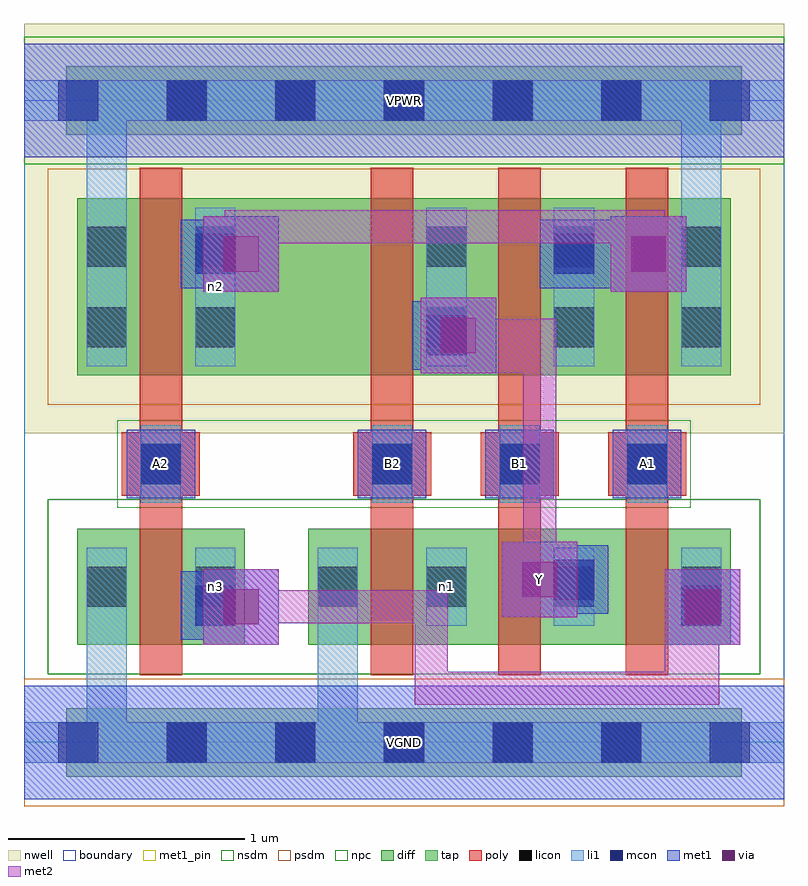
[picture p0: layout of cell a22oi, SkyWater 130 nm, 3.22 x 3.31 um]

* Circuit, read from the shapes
.subckt a22oi A1 A2 B1 B2 VGND VPWR Y n1 n2 n3
XM1 n3 A2 VGND VGND sky130_fd_pr__nfet_01v8 w=0.49 l=0.18
XM2 n1 B2 VGND VGND sky130_fd_pr__nfet_01v8 w=0.49 l=0.18
XM3 Y B1 n1 VGND sky130_fd_pr__nfet_01v8 w=0.49 l=0.18
XM4 n3 A1 Y VGND sky130_fd_pr__nfet_01v8 w=0.49 l=0.18
XM5 n2 A2 VPWR VPWR sky130_fd_pr__pfet_01v8 w=0.75 l=0.18
XM6 Y B2 n2 VPWR sky130_fd_pr__pfet_01v8 w=0.75 l=0.18
XM7 n2 B1 Y VPWR sky130_fd_pr__pfet_01v8 w=0.75 l=0.18
XM8 VPWR A1 n2 VPWR sky130_fd_pr__pfet_01v8 w=0.75 l=0.18
.ends

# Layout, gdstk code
import gdstk
lib = gdstk.Library(unit=1e-6, precision=1e-09)
def R(c, l, rs):  # rectangles x0, y0, x1, y1
    for r in rs: c.add(gdstk.rectangle(r[:2], r[2:], *l))
def A(c, l, x, y, w, h, nx, ny, dx, dy):  # array of equal rectangles
    R(c, l, [(x+i*dx, y+j*dy, x+i*dx+w, y+j*dy+h) for i in range(nx) for j in range(ny)])
nwell = (64, 20)
diff = (65, 20)
tap = (65, 44)
poly = (66, 20)
licon = (66, 44)
li1 = (67, 20)
mcon = (67, 44)
met1_pin = (68, 16)
met1 = (68, 20)
via = (68, 44)
met2 = (69, 20)
nsdm = (93, 44)
psdm = (94, 20)
npc = (95, 20)
boundary = (235, 4)

a22oi = lib.new_cell('a22oi')
R(a22oi, nwell, [(0,1.31,3.22,3.045)])
R(a22oi, diff, [(0.225,0.415,0.935,0.905), (1.205,0.415,2.995,0.905), (0.225,1.555,2.995,2.305)])
R(a22oi, tap, [(0.18,-0.145,3.04,0.145), (0.18,2.575,3.04,2.865)])
A(a22oi, poly, 1.47, 0.285, 0.18, 2.15, 3, 1, 0.54, 0)
A(a22oi, poly, 1.395, 1.045, 0.33, 0.27, 3, 1, 0.54, 0)
R(a22oi, poly, [(0.49,0.285,0.67,2.435), (0.415,1.045,0.745,1.315)])
A(a22oi, licon, 0.605, -0.085, 0.17, 0.17, 5, 2, 0.46, 2.72)
A(a22oi, licon, 1.705, 0.575, 0.17, 0.17, 3, 2, 0.54, 1.1)
A(a22oi, licon, 1.475, 1.095, 0.17, 0.17, 3, 1, 0.54, 0)
A(a22oi, licon, 1.705, 2.015, 0.17, 0.17, 3, 1, 0.54, 0)
R(a22oi, licon, [(0.265,0.575,0.435,0.745), (0.725,0.575,0.895,0.745), (1.245,0.575,1.415,0.745), (0.495,1.095,0.665,1.265), (0.265,1.675,0.435,1.845), (0.725,1.675,0.895,1.845), (0.265,2.015,0.435,2.185), (0.725,2.015,0.895,2.185)])
A(a22oi, li1, 1.705, 0.495, 0.17, 0.33, 3, 1, 0.54, 0)
A(a22oi, li1, 1.475, 1.015, 0.17, 0.33, 3, 1, 0.54, 0)
A(a22oi, li1, 1.705, 1.595, 0.17, 0.67, 3, 1, 0.54, 0)
R(a22oi, li1, [(0,-0.085,3.22,0.085), (0.265,-0.085,0.435,0.825), (1.245,-0.085,1.415,0.825), (0.265,0.495,0.435,0.825), (0.725,0.495,0.895,0.825), (1.245,0.495,1.415,0.825), (0.495,1.015,0.665,1.345), (0.265,1.595,0.435,2.265), (0.265,1.595,0.435,2.805), (0.725,1.595,0.895,2.265), (2.785,1.595,2.955,2.805), (0,2.635,3.22,2.805)])
A(a22oi, mcon, 0.145, -0.085, 0.17, 0.17, 7, 2, 0.46, 2.72)
A(a22oi, mcon, 1.475, 1.095, 0.17, 0.17, 3, 1, 0.54, 0)
R(a22oi, mcon, [(0.725,0.495,0.895,0.665), (2.785,0.495,2.955,0.665), (2.245,0.605,2.415,0.775), (0.495,1.095,0.665,1.265), (1.705,1.64,1.875,1.81), (0.725,1.985,0.895,2.155), (2.245,1.985,2.415,2.155)])
A(a22oi, met1_pin, 1.415, 1.035, 0.29, 0.29, 3, 1, 0.54, 0)
R(a22oi, met1_pin, [(0,-0.24,3.22,0.24), (2.025,0.53,2.345,0.85), (0.435,1.035,0.725,1.325), (0,2.48,3.22,2.96)])
A(a22oi, met1, 1.415, 1.035, 0.29, 0.29, 3, 1, 0.54, 0)
R(a22oi, met1, [(0,-0.24,3.22,0.24), (0.76,0.415,1.08,0.735), (2.715,0.415,3.035,0.735), (0.665,0.435,0.955,0.725), (2.725,0.435,3.015,0.725), (0.85,0.505,0.99,0.65), (2.805,0.505,2.945,0.65), (0.74,0.51,0.99,0.65), (2.8,0.51,2.945,0.65), (2.025,0.53,2.345,0.85), (2.185,0.545,2.475,0.835), (2.115,0.62,2.4,0.76), (0.435,1.035,0.725,1.325), (1.68,1.565,2,1.885), (1.645,1.58,1.935,1.87), (1.72,1.655,1.91,1.795), (0.76,1.91,1.08,2.23), (2.485,1.91,2.805,2.23), (0.665,1.925,0.955,2.215), (2.185,1.925,2.475,2.215), (2.475,1.925,2.485,2.215), (0.74,2,0.99,2.14), (2.26,2,2.6,2.14), (2.46,2,2.715,2.14), (0,2.48,3.22,2.96)])
R(a22oi, via, [(0.845,0.5,0.995,0.65), (2.8,0.5,2.95,0.65), (2.11,0.615,2.26,0.765), (1.765,1.65,1.915,1.8), (0.845,1.995,0.995,2.145), (2.57,1.995,2.72,2.145)])
R(a22oi, met2, [(1.655,0.16,1.795,0.645), (1.655,0.16,2.945,0.3), (2.805,0.16,2.945,0.645), (2.715,0.3,2.945,0.415), (0.76,0.415,1.08,0.735), (2.715,0.415,3.035,0.735), (0.85,0.505,1.795,0.645), (2.025,0.53,2.345,0.85), (2.115,0.62,2.255,1.795), (1.68,1.565,2,1.885), (2,1.565,2.115,1.795), (1.77,1.655,2.255,1.795), (0.76,1.91,1.08,2.23), (2.485,1.91,2.805,2.23), (0.85,2,0.99,2.255), (2.575,2,2.715,2.255), (0.85,2.115,2.715,2.255)])
R(a22oi, nsdm, [(0.1,0.29,3.12,1.03), (0,2.45,3.22,2.99)])
R(a22oi, psdm, [(0,-0.27,3.22,0.27), (0.1,1.43,3.12,2.43)])
R(a22oi, npc, [(0.395,0.995,2.825,1.365)])
R(a22oi, boundary, [(0,0,3.22,2.72)])
a22oi.add(gdstk.Label('n2', (0.81,1.93), layer=67, texttype=5))
a22oi.add(gdstk.Label('n3', (0.81,0.66), layer=67, texttype=5))
a22oi.add(gdstk.Label('n1', (1.79,0.66), layer=67, texttype=5))
a22oi.add(gdstk.Label('A1', (2.64,1.18), layer=68, texttype=5))
a22oi.add(gdstk.Label('A2', (0.58,1.18), layer=68, texttype=5))
a22oi.add(gdstk.Label('B1', (2.1,1.18), layer=68, texttype=5))
a22oi.add(gdstk.Label('B2', (1.56,1.18), layer=68, texttype=5))
a22oi.add(gdstk.Label('Y', (2.185,0.69), layer=68, texttype=5))
a22oi.add(gdstk.Label('VPWR', (1.61,2.72), layer=68, texttype=5))
a22oi.add(gdstk.Label('VGND', (1.61,0), layer=68, texttype=5))
a22oi.add(gdstk.Label('A1', (2.64,1.18), layer=68, texttype=16))
a22oi.add(gdstk.Label('A2', (0.58,1.18), layer=68, texttype=16))
a22oi.add(gdstk.Label('B1', (2.1,1.18), layer=68, texttype=16))
a22oi.add(gdstk.Label('B2', (1.56,1.18), layer=68, texttype=16))
a22oi.add(gdstk.Label('Y', (2.185,0.69), layer=68, texttype=16))
a22oi.add(gdstk.Label('VPWR', (1.61,2.72), layer=68, texttype=16))
a22oi.add(gdstk.Label('VGND', (1.61,0), layer=68, texttype=16))

lib.write_gds('a22oi.gds')
